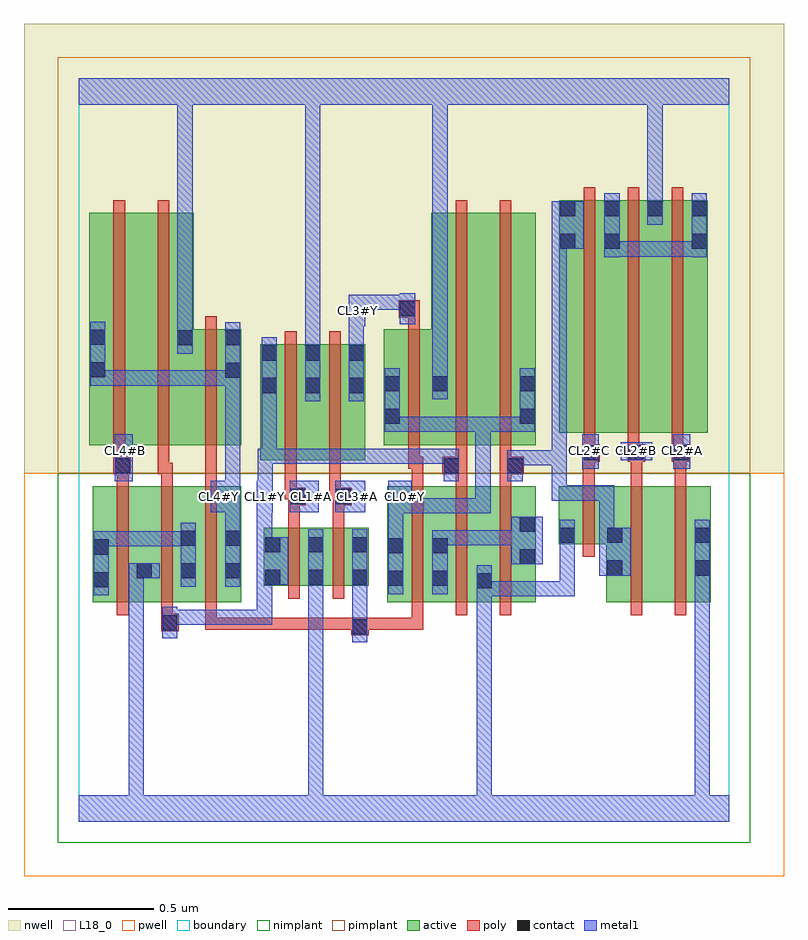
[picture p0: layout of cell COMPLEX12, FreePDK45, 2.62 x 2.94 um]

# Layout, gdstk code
import gdstk
lib = gdstk.Library(unit=1e-6, precision=1e-09)
def R(c, l, rs):  # rectangles x0, y0, x1, y1
    for r in rs: c.add(gdstk.rectangle(r[:2], r[2:], *l))
def A(c, l, x, y, w, h, nx, ny, dx, dy):  # array of equal rectangles
    R(c, l, [(x+i*dx, y+j*dy, x+i*dx+w, y+j*dy+h) for i in range(nx) for j in range(ny)])
active = (1, 0)
pwell = (2, 0)
nwell = (3, 0)
nimplant = (4, 0)
pimplant = (5, 0)
poly = (9, 0)
contact = (10, 0)
metal1 = (11, 0)
L18_0 = (18, 0)
boundary = (235, 0)

complex12 = lib.new_cell('COMPLEX12')
A(complex12, active, 1.062, 0.756, 0.06, 0.4, 3, 1, 0.152, 0)
A(complex12, active, 0.626, 1.244, 0.06, 0.4, 3, 1, 0.15, 0)
R(complex12, active, [(0.048,0.756,0.108,1.156), (0.048,0.756,0.256,1.156), (0.196,0.756,0.408,1.156), (0.196,0.756,0.256,0.894), (0.348,0.756,0.56,1.156), (0.348,0.756,0.408,1.006), (0.5,0.756,0.56,1.156), (1.062,0.756,1.274,1.156), (1.214,0.756,1.426,1.156), (1.366,0.756,1.574,1.156), (1.514,0.756,1.574,1.156), (1.816,0.756,1.876,1.156), (1.816,0.756,1.996,1.156), (1.996,0.756,2.176,1.156), (2.116,0.756,2.176,1.156), (0.638,0.812,0.698,1.012), (0.638,0.812,0.846,1.012), (0.786,0.812,0.846,1.012), (0.786,0.812,0.998,1.012), (0.938,0.812,0.998,1.012), (1.652,0.956,1.876,1.156), (1.652,0.956,1.712,1.156), (0.626,1.244,0.836,1.644), (0.776,1.244,0.986,1.644), (0.036,1.296,0.096,2.044), (0.036,1.296,0.216,2.096), (0.216,1.296,0.396,2.096), (0.336,1.296,0.56,1.696), (0.5,1.296,0.56,1.696), (1.05,1.296,1.11,1.696), (1.05,1.296,1.274,1.696), (1.214,1.296,1.274,2.096), (1.214,1.296,1.394,2.096), (1.394,1.296,1.574,2.096), (1.514,1.296,1.574,2.044), (0.336,1.338,0.396,2.096), (1.654,1.34,1.714,2.14), (1.654,1.34,1.866,2.14), (1.806,1.34,2.014,2.14), (1.954,1.34,2.166,2.14), (2.106,1.34,2.166,2.14), (1.806,1.686,1.866,2.14), (1.954,1.686,2.014,2.14)])
R(complex12, pwell, [(-0.188,-0.188,2.428,1.2)])
R(complex12, nwell, [(-0.188,1.2,2.428,2.748)])
R(complex12, nimplant, [(-0.072,-0.072,2.312,1.2)])
R(complex12, pimplant, [(-0.072,1.2,2.312,2.632)])
A(complex12, poly, 0.746, 0.662, 0.04, 0.04, 3, 1, 0.106, 0)
A(complex12, poly, 0.132, 0.712, 0.04, 0.488, 3, 1, 0.152, 0)
A(complex12, poly, 1.146, 0.712, 0.04, 0.488, 3, 1, 0.152, 0)
A(complex12, poly, 0.132, 1.16, 0.04, 0.076, 3, 1, 0.152, 0)
A(complex12, poly, 1.738, 1.26, 0.04, 0.076, 3, 1, 0.152, 0)
A(complex12, poly, 1.738, 1.296, 0.04, 0.888, 3, 1, 0.152, 0)
R(complex12, poly, [(0.938,0.642,0.998,0.702), (0.284,0.656,0.344,0.716), (0.436,0.662,0.476,0.702), (0.436,0.662,0.476,0.702), (0.436,0.662,0.476,0.702), (0.436,0.662,0.476,0.752), (0.436,0.662,0.786,0.702), (0.746,0.662,0.786,0.702), (0.746,0.662,0.786,0.702), (0.746,0.662,0.892,0.702), (0.852,0.662,0.978,0.702), (0.958,0.662,0.998,0.702), (0.958,0.662,1.186,0.702), (1.146,0.662,1.186,0.702), (1.146,0.662,1.186,0.702), (1.146,0.662,1.186,0.702), (1.146,0.662,1.186,0.752), (0.284,0.676,0.324,0.752), (1.9,0.712,1.94,1.2), (2.052,0.712,2.092,1.2), (0.722,0.768,0.762,1.056), (0.874,0.768,0.914,1.056), (1.736,0.912,1.776,1.2), (0.722,1.016,0.762,1.13), (0.874,1.016,0.914,1.13), (0.722,1.09,0.782,1.15), (0.874,1.09,0.94,1.15), (0.71,1.11,0.762,1.15), (0.71,1.11,0.75,1.24), (0.722,1.11,0.762,1.15), (0.862,1.11,0.914,1.15), (0.862,1.11,0.902,1.24), (0.874,1.11,0.914,1.15), (1.146,1.16,1.186,1.256), (1.298,1.16,1.338,1.236), (1.45,1.16,1.49,1.236), (1.736,1.16,1.776,1.28), (1.9,1.16,1.94,1.28), (2.052,1.16,2.092,1.28), (0.12,1.196,0.18,1.256), (0.132,1.196,0.172,1.236), (0.132,1.196,0.172,1.236), (0.272,1.196,0.312,1.292), (0.272,1.196,0.324,1.236), (0.284,1.196,0.324,1.236), (0.284,1.196,0.324,1.236), (0.436,1.196,0.476,1.236), (0.436,1.196,0.476,1.236), (0.436,1.196,0.476,1.236), (0.436,1.196,0.476,1.292), (1.252,1.196,1.338,1.256), (1.298,1.196,1.338,1.236), (1.298,1.196,1.338,1.236), (1.45,1.196,1.49,1.236), (1.45,1.196,1.49,1.236), (1.45,1.196,1.532,1.256), (0.71,1.2,0.75,1.688), (0.862,1.2,0.902,1.688), (0.12,1.216,0.16,1.292), (1.134,1.216,1.174,1.292), (1.134,1.216,1.174,1.256), (1.134,1.216,1.174,1.256), (1.134,1.216,1.186,1.256), (1.298,1.216,1.338,1.292), (1.45,1.216,1.49,1.292), (1.734,1.24,1.794,1.3), (1.736,1.24,1.776,1.28), (1.736,1.24,1.776,1.28), (1.89,1.24,1.95,1.3), (1.9,1.24,1.94,1.28), (1.9,1.24,1.94,1.28), (2.042,1.24,2.102,1.3), (2.052,1.24,2.092,1.28), (2.052,1.24,2.092,1.28), (0.12,1.252,0.16,2.14), (0.272,1.252,0.312,2.14), (0.436,1.252,0.476,1.74), (1.134,1.252,1.174,1.74), (1.298,1.252,1.338,2.14), (1.45,1.252,1.49,2.14), (1.134,1.7,1.174,1.776), (1.102,1.736,1.174,1.796)])
A(complex12, contact, 0.2, 0.838, 0.052, 0.052, 3, 1, 0.152, 0)
A(complex12, contact, 0.63, 1.476, 0.052, 0.052, 3, 2, 0.15, 0.112)
R(complex12, contact, [(0.942,0.646,0.994,0.698), (0.288,0.66,0.34,0.712), (1.37,0.804,1.422,0.856), (0.052,0.808,0.104,0.86), (1.066,0.812,1.118,0.864), (1.218,0.812,1.27,0.864), (0.642,0.816,0.694,0.868), (0.79,0.816,0.842,0.868), (0.942,0.816,0.994,0.868), (1.82,0.848,1.872,0.9), (2.12,0.848,2.172,0.9), (1.518,0.886,1.57,0.938), (0.052,0.92,0.104,0.972), (1.066,0.924,1.118,0.976), (1.218,0.924,1.27,0.976), (0.642,0.928,0.694,0.98), (0.79,0.928,0.842,0.98), (0.942,0.928,0.994,0.98), (0.352,0.95,0.404,1.002), (0.504,0.95,0.556,1.002), (1.656,0.96,1.708,1.012), (1.82,0.96,1.872,1.012), (2.12,0.96,2.172,1.012), (1.518,0.998,1.57,1.05), (0.726,1.094,0.778,1.146), (0.884,1.094,0.936,1.146), (0.124,1.2,0.176,1.252), (1.256,1.2,1.308,1.252), (1.476,1.2,1.528,1.252), (1.738,1.244,1.79,1.296), (1.894,1.244,1.946,1.296), (2.046,1.244,2.098,1.296), (1.054,1.37,1.106,1.422), (1.518,1.37,1.57,1.422), (1.054,1.482,1.106,1.534), (1.218,1.482,1.27,1.534), (1.518,1.482,1.57,1.534), (0.504,1.528,0.556,1.58), (0.04,1.53,0.092,1.582), (0.34,1.64,0.392,1.692), (0.504,1.64,0.556,1.692), (0.04,1.642,0.092,1.694), (1.106,1.74,1.158,1.792), (1.658,1.972,1.71,2.024), (1.81,1.972,1.862,2.024), (2.11,1.972,2.162,2.024), (1.658,2.084,1.71,2.136), (1.81,2.084,1.862,2.136), (1.958,2.084,2.01,2.136), (2.11,2.084,2.162,2.136)])
A(complex12, metal1, 0.63, 1.448, 0.052, 0.22, 3, 1, 0.15, 0)
R(complex12, metal1, [(0,0,2.24,0.092), (0.172,0.04,0.224,0.092), (0.172,0.04,0.224,0.092), (0.172,0.04,0.224,0.092), (0.172,0.04,0.224,0.092), (0.172,0.04,0.224,0.092), (0.172,0.04,0.224,0.092), (0.172,0.04,0.224,0.092), (0.172,0.04,0.224,0.092), (0.172,0.04,0.224,0.092), (0.172,0.04,0.224,0.092), (0.172,0.04,0.224,0.89), (0.79,0.04,0.842,0.092), (0.79,0.04,0.842,0.092), (0.79,0.04,0.842,0.092), (0.79,0.04,0.842,0.092), (0.79,0.04,0.842,0.092), (0.79,0.04,0.842,0.092), (0.79,0.04,0.842,0.092), (0.79,0.04,0.842,0.092), (0.79,0.04,0.842,0.092), (0.79,0.04,0.842,0.092), (0.79,0.04,0.842,0.092), (0.79,0.04,0.842,0.092), (0.79,0.04,0.842,0.092), (0.79,0.04,0.842,0.092), (0.79,0.04,0.842,0.092), (0.79,0.04,0.842,0.092), (0.79,0.04,0.842,0.84), (1.37,0.04,1.422,0.092), (1.37,0.04,1.422,0.092), (1.37,0.04,1.422,0.092), (1.37,0.04,1.422,0.092), (1.37,0.04,1.422,0.092), (1.37,0.04,1.422,0.092), (1.37,0.04,1.422,0.092), (1.37,0.04,1.422,0.092), (1.37,0.04,1.422,0.092), (1.37,0.04,1.422,0.092), (1.37,0.04,1.422,0.828), (2.12,0.04,2.172,0.092), (2.12,0.04,2.172,0.092), (2.12,0.04,2.172,0.092), (2.12,0.04,2.172,0.092), (2.12,0.04,2.172,0.092), (2.12,0.04,2.172,0.092), (2.12,0.04,2.172,0.092), (2.12,0.04,2.172,0.092), (2.12,0.04,2.172,0.092), (2.12,0.04,2.172,0.092), (2.12,0.04,2.172,0.092), (2.12,0.04,2.172,0.092), (2.12,0.04,2.172,0.872), (0.942,0.618,0.994,0.726), (0.288,0.632,0.34,0.74), (0.942,0.674,0.994,0.726), (0.942,0.674,0.994,0.726), (0.942,0.674,0.994,0.84), (0.288,0.678,0.396,0.73), (0.344,0.678,0.396,0.73), (0.344,0.678,0.396,0.73), (0.344,0.678,0.396,0.73), (0.344,0.678,0.556,0.73), (0.504,0.678,0.556,0.73), (0.504,0.678,0.556,0.73), (0.504,0.678,0.556,0.73), (0.504,0.678,0.666,0.73), (0.614,0.678,0.666,0.73), (0.614,0.678,0.666,0.73), (0.614,0.678,0.666,0.73), (0.614,0.678,0.666,0.73), (0.614,0.678,0.666,0.73), (0.614,0.678,0.666,0.868), (1.37,0.776,1.422,0.828), (1.37,0.776,1.422,0.828), (1.37,0.776,1.422,0.828), (1.37,0.776,1.422,0.828), (1.37,0.776,1.422,0.884), (1.37,0.776,1.532,0.828), (1.48,0.776,1.532,0.828), (1.48,0.776,1.708,0.828), (1.656,0.776,1.708,0.828), (1.656,0.776,1.708,0.828), (1.656,0.776,1.708,0.828), (1.656,0.776,1.708,0.984), (0.052,0.78,0.104,1), (1.066,0.784,1.118,1.004), (1.218,0.784,1.27,1.004), (0.79,0.788,0.842,1.008), (0.942,0.788,0.994,0.84), (0.942,0.788,0.994,0.84), (0.942,0.788,0.994,0.84), (0.942,0.788,0.994,0.84), (0.942,0.788,0.994,1.008), (0.352,0.81,0.404,1.03), (0.504,0.81,0.556,1.03), (0.614,0.816,0.722,0.98), (2.12,0.82,2.172,1.04), (0.172,0.838,0.224,0.89), (0.172,0.838,0.224,0.89), (0.172,0.838,0.28,0.89), (1.792,0.848,1.9,1.012), (1.49,0.886,1.598,1.05), (0.614,0.928,0.666,1.118), (1.656,0.932,1.708,1.04), (0.052,0.948,0.104,1), (0.052,0.948,0.104,1), (0.052,0.948,0.214,1), (0.162,0.948,0.214,1), (0.162,0.948,0.214,1), (0.162,0.948,0.214,1), (0.162,0.948,0.404,1), (1.066,0.952,1.118,1.114), (1.218,0.952,1.27,1.004), (1.218,0.952,1.27,1.004), (1.218,0.952,1.418,1.004), (1.366,0.952,1.418,1.004), (1.366,0.952,1.542,1.004), (1.49,0.952,1.542,1.004), (1.49,0.952,1.542,1.004), (1.792,0.96,1.844,1.158), (0.504,0.978,0.556,1.118), (1.066,1.062,1.146,1.174), (1.094,1.062,1.146,1.114), (1.094,1.062,1.146,1.114), (1.094,1.062,1.268,1.114), (1.216,1.062,1.268,1.114), (1.216,1.062,1.268,1.114), (1.216,1.062,1.268,1.114), (1.216,1.062,1.418,1.114), (1.366,1.062,1.418,1.114), (1.366,1.062,1.418,1.118), (0.454,1.066,0.556,1.174), (0.614,1.066,0.668,1.174), (0.726,1.066,0.826,1.174), (0.884,1.066,0.986,1.174), (1.366,1.066,1.418,1.118), (1.366,1.066,1.418,1.394), (1.628,1.106,1.68,1.158), (1.628,1.106,1.68,1.158), (1.628,1.106,1.68,1.158), (1.628,1.106,1.844,1.158), (1.628,1.106,1.68,1.28), (1.792,1.106,1.844,1.158), (0.504,1.122,0.556,1.174), (0.504,1.122,0.556,1.174), (0.504,1.122,0.556,1.552), (0.616,1.122,0.668,1.284), (0.124,1.172,0.186,1.334), (1.256,1.172,1.308,1.28), (1.476,1.172,1.528,1.28), (1.734,1.216,1.79,1.334), (2.046,1.216,2.106,1.334), (1.256,1.228,1.308,1.28), (1.256,1.228,1.308,1.284), (1.476,1.228,1.532,1.28), (1.48,1.228,1.532,1.28), (1.48,1.228,1.68,1.28), (1.628,1.228,1.68,1.28), (1.628,1.228,1.68,2.024), (0.616,1.232,0.682,1.284), (0.63,1.232,0.682,1.284), (0.63,1.232,0.682,1.284), (0.63,1.232,0.792,1.284), (0.63,1.232,0.682,1.5), (0.74,1.232,0.792,1.284), (0.74,1.232,0.994,1.284), (0.942,1.232,0.994,1.284), (0.942,1.232,0.994,1.284), (0.942,1.232,0.994,1.284), (0.942,1.232,1.104,1.284), (1.052,1.232,1.104,1.284), (1.052,1.232,1.104,1.284), (1.052,1.232,1.104,1.284), (1.052,1.232,1.308,1.284), (1.866,1.244,1.974,1.306), (1.054,1.342,1.106,1.394), (1.054,1.342,1.106,1.394), (1.054,1.342,1.106,1.562), (1.054,1.342,1.308,1.394), (1.256,1.342,1.308,1.394), (1.256,1.342,1.308,1.394), (1.256,1.342,1.308,1.394), (1.256,1.342,1.418,1.394), (1.366,1.342,1.418,1.394), (1.366,1.342,1.57,1.394), (1.518,1.342,1.57,1.394), (1.518,1.342,1.57,1.394), (1.518,1.342,1.57,1.562), (1.218,1.454,1.27,1.562), (0.504,1.5,0.556,1.72), (0.04,1.502,0.092,1.554), (0.04,1.502,0.092,1.554), (0.04,1.502,0.092,1.722), (0.04,1.502,0.224,1.554), (0.172,1.502,0.224,1.554), (0.172,1.502,0.224,1.554), (0.172,1.502,0.224,1.554), (0.172,1.502,0.334,1.554), (0.282,1.502,0.334,1.554), (0.282,1.502,0.556,1.554), (0.504,1.502,0.556,1.554), (0.504,1.502,0.556,1.554), (1.218,1.51,1.27,2.52), (0.34,1.612,0.392,1.72), (0.78,1.616,0.832,1.668), (0.78,1.616,0.832,1.668), (0.78,1.616,0.832,2.52), (0.93,1.616,0.982,1.758), (0.34,1.668,0.392,2.52), (0.93,1.706,0.986,1.814), (1.106,1.712,1.158,1.82), (0.934,1.762,1.158,1.814), (1.106,1.762,1.158,1.814), (1.106,1.762,1.158,1.814), (1.81,1.944,1.862,2.164), (2.11,1.944,2.162,2.164), (1.81,1.946,1.862,1.998), (1.81,1.946,1.862,1.998), (1.81,1.946,1.972,1.998), (1.92,1.946,1.972,1.998), (1.92,1.946,2.162,1.998), (2.11,1.946,2.162,1.998), (2.11,1.946,2.162,1.998), (1.628,1.972,1.738,2.136), (1.958,2.056,2.01,2.164), (1.958,2.112,2.01,2.164), (1.958,2.112,2.01,2.164), (1.958,2.112,2.01,2.164), (1.958,2.112,2.01,2.164), (1.958,2.112,2.01,2.164), (1.958,2.112,2.01,2.164), (1.958,2.112,2.01,2.52), (0,2.468,2.24,2.56), (0.34,2.468,0.392,2.52), (0.34,2.468,0.392,2.52), (0.34,2.468,0.392,2.52), (0.34,2.468,0.392,2.52), (0.34,2.468,0.392,2.52), (0.34,2.468,0.392,2.52), (0.34,2.468,0.392,2.52), (0.34,2.468,0.392,2.52), (0.78,2.468,0.832,2.52), (0.78,2.468,0.832,2.52), (0.78,2.468,0.832,2.52), (0.78,2.468,0.832,2.52), (0.78,2.468,0.832,2.52), (0.78,2.468,0.832,2.52), (0.78,2.468,0.832,2.52), (0.78,2.468,0.832,2.52), (0.78,2.468,0.832,2.52), (0.78,2.468,0.832,2.52), (0.78,2.468,0.832,2.52), (0.78,2.468,0.832,2.52), (0.78,2.468,0.832,2.52), (0.78,2.468,0.832,2.52), (1.218,2.468,1.27,2.52), (1.218,2.468,1.27,2.52), (1.218,2.468,1.27,2.52), (1.218,2.468,1.27,2.52), (1.218,2.468,1.27,2.52), (1.218,2.468,1.27,2.52), (1.218,2.468,1.27,2.52), (1.218,2.468,1.27,2.52), (1.958,2.468,2.01,2.52), (1.958,2.468,2.01,2.52)])
A(complex12, L18_0, 0.454, 1.094, 0.052, 0.052, 5, 1, 0.16, 0)
A(complex12, L18_0, 1.734, 1.254, 0.052, 0.052, 3, 1, 0.16, 0)
A(complex12, L18_0, 0.63, 1.448, 0.052, 0.22, 3, 1, 0.15, 0)
R(complex12, L18_0, [(0,0,2.24,0.092), (0.172,0.04,0.224,0.092), (0.172,0.04,0.224,0.092), (0.172,0.04,0.224,0.092), (0.172,0.04,0.224,0.092), (0.172,0.04,0.224,0.092), (0.172,0.04,0.224,0.092), (0.172,0.04,0.224,0.092), (0.172,0.04,0.224,0.092), (0.172,0.04,0.224,0.092), (0.172,0.04,0.224,0.092), (0.172,0.04,0.224,0.89), (0.79,0.04,0.842,0.092), (0.79,0.04,0.842,0.092), (0.79,0.04,0.842,0.092), (0.79,0.04,0.842,0.092), (0.79,0.04,0.842,0.092), (0.79,0.04,0.842,0.092), (0.79,0.04,0.842,0.092), (0.79,0.04,0.842,0.092), (0.79,0.04,0.842,0.092), (0.79,0.04,0.842,0.092), (0.79,0.04,0.842,0.092), (0.79,0.04,0.842,0.092), (0.79,0.04,0.842,0.092), (0.79,0.04,0.842,0.092), (0.79,0.04,0.842,0.092), (0.79,0.04,0.842,0.092), (0.79,0.04,0.842,0.84), (1.37,0.04,1.422,0.092), (1.37,0.04,1.422,0.092), (1.37,0.04,1.422,0.092), (1.37,0.04,1.422,0.092), (1.37,0.04,1.422,0.092), (1.37,0.04,1.422,0.092), (1.37,0.04,1.422,0.092), (1.37,0.04,1.422,0.092), (1.37,0.04,1.422,0.092), (1.37,0.04,1.422,0.092), (1.37,0.04,1.422,0.828), (2.12,0.04,2.172,0.092), (2.12,0.04,2.172,0.092), (2.12,0.04,2.172,0.092), (2.12,0.04,2.172,0.092), (2.12,0.04,2.172,0.092), (2.12,0.04,2.172,0.092), (2.12,0.04,2.172,0.092), (2.12,0.04,2.172,0.092), (2.12,0.04,2.172,0.092), (2.12,0.04,2.172,0.092), (2.12,0.04,2.172,0.092), (2.12,0.04,2.172,0.092), (2.12,0.04,2.172,0.872), (0.942,0.618,0.994,0.726), (0.288,0.632,0.34,0.74), (0.942,0.674,0.994,0.726), (0.942,0.674,0.994,0.726), (0.942,0.674,0.994,0.84), (0.288,0.678,0.396,0.73), (0.344,0.678,0.396,0.73), (0.344,0.678,0.396,0.73), (0.344,0.678,0.396,0.73), (0.344,0.678,0.556,0.73), (0.504,0.678,0.556,0.73), (0.504,0.678,0.556,0.73), (0.504,0.678,0.556,0.73), (0.504,0.678,0.666,0.73), (0.614,0.678,0.666,0.73), (0.614,0.678,0.666,0.73), (0.614,0.678,0.666,0.73), (0.614,0.678,0.666,0.73), (0.614,0.678,0.666,0.73), (0.614,0.678,0.666,0.868), (1.37,0.776,1.422,0.828), (1.37,0.776,1.422,0.828), (1.37,0.776,1.422,0.828), (1.37,0.776,1.422,0.828), (1.37,0.776,1.422,0.884), (1.37,0.776,1.532,0.828), (1.48,0.776,1.532,0.828), (1.48,0.776,1.708,0.828), (1.656,0.776,1.708,0.828), (1.656,0.776,1.708,0.828), (1.656,0.776,1.708,0.828), (1.656,0.776,1.708,0.984), (1.066,0.784,1.118,1.004), (0.79,0.788,0.842,1.008), (0.942,0.788,0.994,1.008), (0.942,0.788,0.994,0.84), (0.942,0.788,0.994,0.84), (0.942,0.788,0.994,0.84), (0.942,0.788,0.994,0.84), (0.504,0.81,0.556,1.03), (0.614,0.816,0.722,0.98), (2.12,0.82,2.172,1.04), (0.172,0.838,0.224,0.89), (0.172,0.838,0.224,0.89), (0.172,0.838,0.28,0.89), (0.614,0.928,0.666,1.118), (1.656,0.932,1.708,1.04), (1.066,0.952,1.118,1.114), (0.504,0.978,0.556,1.118), (1.066,1.062,1.146,1.174), (1.094,1.062,1.146,1.114), (1.094,1.062,1.146,1.114), (1.094,1.062,1.268,1.114), (1.216,1.062,1.268,1.114), (1.216,1.062,1.268,1.114), (1.216,1.062,1.268,1.114), (1.216,1.062,1.418,1.114), (1.366,1.062,1.418,1.114), (1.366,1.062,1.418,1.118), (0.454,1.066,0.556,1.174), (0.614,1.066,0.668,1.174), (0.726,1.066,0.826,1.174), (0.884,1.066,0.986,1.174), (1.366,1.066,1.418,1.118), (1.366,1.066,1.418,1.394), (0.504,1.122,0.556,1.174), (0.504,1.122,0.556,1.174), (0.504,1.122,0.556,1.552), (0.616,1.122,0.668,1.284), (0.124,1.172,0.186,1.334), (1.256,1.172,1.308,1.28), (1.734,1.216,1.79,1.334), (2.046,1.216,2.106,1.334), (1.256,1.228,1.308,1.28), (1.256,1.228,1.308,1.284), (0.616,1.232,0.682,1.284), (0.63,1.232,0.682,1.284), (0.63,1.232,0.682,1.284), (0.63,1.232,0.792,1.284), (0.63,1.232,0.682,1.5), (0.74,1.232,0.792,1.284), (0.74,1.232,0.994,1.284), (0.942,1.232,0.994,1.284), (0.942,1.232,0.994,1.284), (0.942,1.232,0.994,1.284), (0.942,1.232,1.104,1.284), (1.052,1.232,1.104,1.284), (1.052,1.232,1.104,1.284), (1.052,1.232,1.104,1.284), (1.052,1.232,1.308,1.284), (1.866,1.244,1.974,1.306), (0.134,1.254,0.186,1.306), (1.054,1.342,1.106,1.562), (1.054,1.342,1.106,1.394), (1.054,1.342,1.106,1.394), (1.054,1.342,1.308,1.394), (1.256,1.342,1.308,1.394), (1.256,1.342,1.308,1.394), (1.256,1.342,1.308,1.394), (1.256,1.342,1.418,1.394), (1.366,1.342,1.418,1.394), (1.366,1.342,1.57,1.394), (1.518,1.342,1.57,1.562), (1.518,1.342,1.57,1.394), (1.518,1.342,1.57,1.394), (1.218,1.454,1.27,1.562), (0.504,1.5,0.556,1.72), (0.04,1.502,0.092,1.722), (0.04,1.502,0.092,1.554), (0.04,1.502,0.092,1.554), (0.04,1.502,0.224,1.554), (0.172,1.502,0.224,1.554), (0.172,1.502,0.224,1.554), (0.172,1.502,0.224,1.554), (0.172,1.502,0.334,1.554), (0.282,1.502,0.334,1.554), (0.282,1.502,0.556,1.554), (0.504,1.502,0.556,1.554), (0.504,1.502,0.556,1.554), (1.218,1.51,1.27,2.52), (0.34,1.612,0.392,1.72), (0.78,1.616,0.832,1.668), (0.78,1.616,0.832,1.668), (0.78,1.616,0.832,2.52), (0.93,1.616,0.982,1.758), (0.34,1.668,0.392,2.52), (0.93,1.706,0.986,1.814), (1.106,1.712,1.158,1.82), (0.934,1.734,0.986,1.786), (0.934,1.762,1.158,1.814), (1.106,1.762,1.158,1.814), (1.106,1.762,1.158,1.814), (1.958,2.056,2.01,2.164), (1.958,2.112,2.01,2.164), (1.958,2.112,2.01,2.164), (1.958,2.112,2.01,2.164), (1.958,2.112,2.01,2.164), (1.958,2.112,2.01,2.164), (1.958,2.112,2.01,2.164), (1.958,2.112,2.01,2.52), (0,2.468,2.24,2.56), (0.34,2.468,0.392,2.52), (0.34,2.468,0.392,2.52), (0.34,2.468,0.392,2.52), (0.34,2.468,0.392,2.52), (0.34,2.468,0.392,2.52), (0.34,2.468,0.392,2.52), (0.34,2.468,0.392,2.52), (0.34,2.468,0.392,2.52), (0.78,2.468,0.832,2.52), (0.78,2.468,0.832,2.52), (0.78,2.468,0.832,2.52), (0.78,2.468,0.832,2.52), (0.78,2.468,0.832,2.52), (0.78,2.468,0.832,2.52), (0.78,2.468,0.832,2.52), (0.78,2.468,0.832,2.52), (0.78,2.468,0.832,2.52), (0.78,2.468,0.832,2.52), (0.78,2.468,0.832,2.52), (0.78,2.468,0.832,2.52), (0.78,2.468,0.832,2.52), (0.78,2.468,0.832,2.52), (1.218,2.468,1.27,2.52), (1.218,2.468,1.27,2.52), (1.218,2.468,1.27,2.52), (1.218,2.468,1.27,2.52), (1.218,2.468,1.27,2.52), (1.218,2.468,1.27,2.52), (1.218,2.468,1.27,2.52), (1.218,2.468,1.27,2.52), (1.958,2.468,2.01,2.52), (1.958,2.468,2.01,2.52)])
R(complex12, boundary, [(0,0,2.24,2.56)])
complex12.add(gdstk.Label('CL0#Y', (1.12,1.12), layer=11, texttype=0))
complex12.add(gdstk.Label('CL1#A', (0.8,1.12), layer=11, texttype=0))
complex12.add(gdstk.Label('CL1#Y', (0.64,1.12), layer=11, texttype=0))
complex12.add(gdstk.Label('CL2#A', (2.08,1.28), layer=11, texttype=0))
complex12.add(gdstk.Label('CL2#B', (1.92,1.28), layer=11, texttype=0))
complex12.add(gdstk.Label('CL2#C', (1.76,1.28), layer=11, texttype=0))
complex12.add(gdstk.Label('CL3#A', (0.96,1.12), layer=11, texttype=0))
complex12.add(gdstk.Label('CL3#Y', (0.96,1.76), layer=11, texttype=0))
complex12.add(gdstk.Label('CL4#B', (0.16,1.28), layer=11, texttype=0))
complex12.add(gdstk.Label('CL4#Y', (0.48,1.12), layer=11, texttype=0))

lib.write_gds('COMPLEX12.gds')
